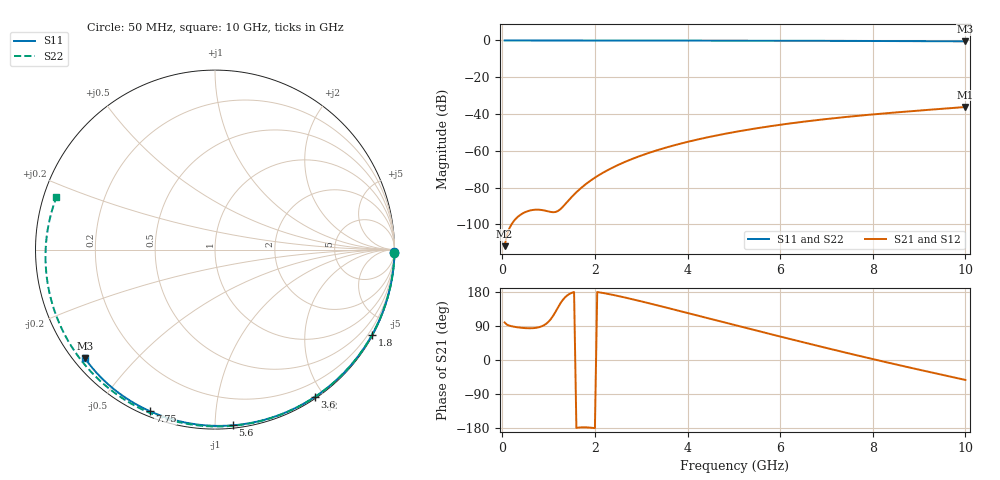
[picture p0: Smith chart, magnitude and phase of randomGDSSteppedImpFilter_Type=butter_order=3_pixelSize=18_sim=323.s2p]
! freq	dB(S11)	phase(S11)	dB(S12)	phase(S12)
!  dB(S21)	phase(S21)	dB(S22)	phase(S22)
!S-par simulation data
#  GHz  S  DB  R 50
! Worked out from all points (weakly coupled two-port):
!   200 points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, 50 MHz to 10 GHz, reference 50 ohm
!   highest |S21| = -36.20 dB at 10 GHz (marker M1); lowest = -111.9 dB at 50 MHz (marker M2)
!   lowest |S11| = -0.5 dB at 10 GHz (marker M3), VSWR 34.79, Z = 1.63 - j18.1 ohm
!   |S11| at or under -10 dB: nowhere
!   |S22| runs from -0.6 to 0.0 dB; largest |S21 - S12| = 0
!   S11 on the Smith chart (normalised r, x): 50 MHz: open; 1.8 GHz: 0.03, -3.91; 3.6 GHz: 0.02, -1.88; 5.6 GHz: 0.02, -1.11; 7.75 GHz: 0.02, -0.67; 10 GHz: 0.03, -0.36
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0.05  -0.00 -0.8  -111.88 99.1  -111.88 99.1  -0.00 -1.1
0.45  -0.01 -7.3  -93.93 84.5  -93.93 84.5  -0.01 -10.0
0.85  -0.02 -13.7  -92.21 88.9  -92.21 88.9  -0.02 -18.9
1.25  -0.03 -20.0  -91.87 148.6  -91.87 148.6  -0.03 -27.6
1.7  -0.03 -27.1  -80.27 -177.8  -80.27 -177.8  -0.05 -37.3
1.75  -0.04 -27.9  -79.21 -177.6  -79.21 -177.6  -0.05 -38.4
1.8  -0.04 -28.7  -78.20 -177.7  -78.20 -177.7  -0.05 -39.4
2.1  -0.04 -33.3  -73.03 178.4  -73.03 178.4  -0.06 -45.8
2.5  -0.05 -39.5  -67.72 169.0  -67.72 169.0  -0.07 -54.2
2.9  -0.06 -45.6  -63.52 157.7  -63.52 157.7  -0.08 -62.4
3.4  -0.07 -53.0  -59.27 142.7  -59.27 142.7  -0.10 -72.4
3.6  -0.08 -56.0  -57.80 136.5  -57.80 136.5  -0.10 -76.4
4.3  -0.09 -66.1  -53.40 114.7  -53.40 114.7  -0.13 -90.0
5.05  -0.12 -76.6  -49.65 91.3  -49.65 91.3  -0.16 -104.1
5.6  -0.14 -84.2  -47.34 74.3  -47.34 74.3  -0.19 -114.3
6.15  -0.16 -91.5  -45.34 57.4  -45.34 57.4  -0.22 -124.3
6.7  -0.19 -98.7  -43.59 40.7  -43.59 40.7  -0.26 -134.3
7.25  -0.22 -105.7  -42.06 24.2  -42.06 24.2  -0.30 -144.3
7.75  -0.26 -112.1  -40.81 9.6  -40.81 9.6  -0.35 -153.4
8.35  -0.31 -119.6  -39.46 -7.5  -39.46 -7.5  -0.41 -164.7
9.2  -0.39 -130.2  -37.74 -31.0  -37.74 -31.0  -0.51 178.6
10  -0.50 -140.2  -36.20 -52.6  -36.20 -52.6  -0.63 161.7
